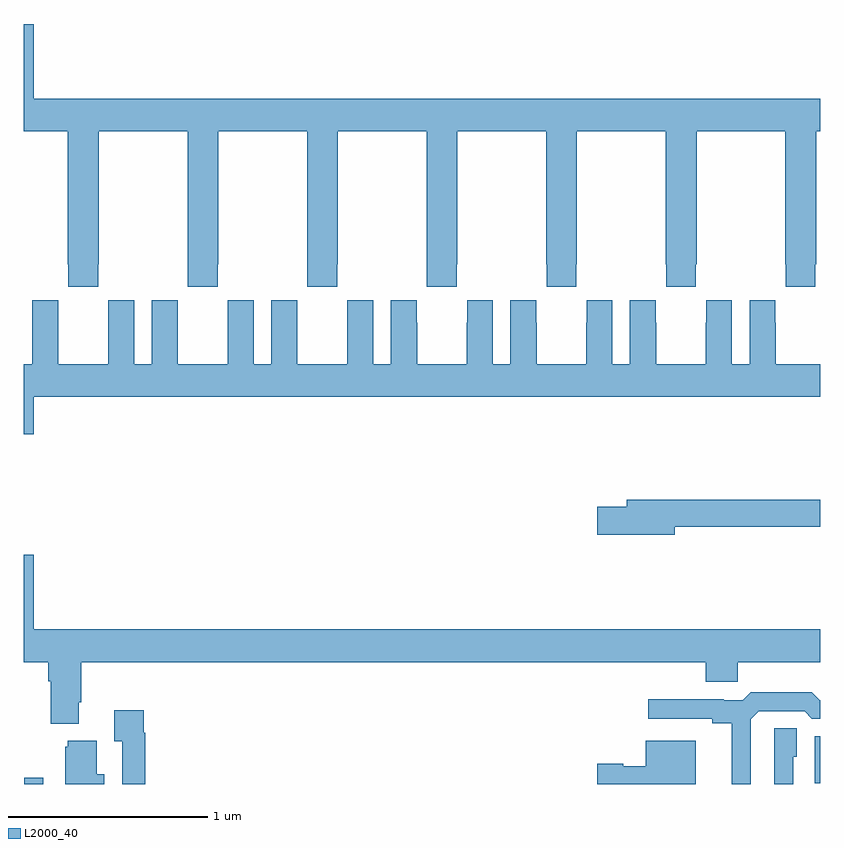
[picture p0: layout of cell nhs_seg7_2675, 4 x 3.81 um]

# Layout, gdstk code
import gdstk
lib = gdstk.Library(unit=1e-6, precision=1e-09)
def R(c, l, rs):  # rectangles x0, y0, x1, y1
    for r in rs: c.add(gdstk.rectangle(r[:2], r[2:], *l))
def P(c, l, *ps):  # polygons
    for p in ps: c.add(gdstk.Polygon(p, *l))
L2000_40 = (2000, 40)

nhs_seg7_2675 = lib.new_cell('nhs_seg7_2675')
R(nhs_seg7_2675, L2000_40, [(285.003,1004,285.099,1004.032), (288.971,1004.003,289,1004.239)])
P(nhs_seg7_2675, L2000_40, [(285.375,1006.609),(285.378,1006.609),(285.378,1007.276),(285.823,1007.276),(285.823,1006.609),(285.825,1006.609),(285.825,1006.497),(285.975,1006.497),(285.975,1006.609),(285.978,1006.609),(285.978,1007.276),(286.423,1007.276),(286.423,1006.609),(286.425,1006.609),(286.425,1006.497),(286.575,1006.497),(286.575,1006.609),(286.578,1006.609),(286.578,1007.276),(287.023,1007.276),(287.023,1006.609),(287.025,1006.609),(287.025,1006.497),(287.175,1006.497),(287.175,1006.609),(287.178,1006.609),(287.178,1007.276),(287.623,1007.276),(287.623,1006.609),(287.625,1006.609),(287.625,1006.497),(287.775,1006.497),(287.775,1006.609),(287.778,1006.609),(287.778,1007.276),(288.223,1007.276),(288.223,1006.609),(288.225,1006.609),(288.225,1006.497),(288.375,1006.497),(288.375,1006.609),(288.378,1006.609),(288.378,1007.276),(288.823,1007.276),(288.823,1006.609),(288.825,1006.609),(288.825,1006.497),(288.975,1006.497),(288.975,1006.609),(288.978,1006.609),(288.978,1007.276),(289,1007.276),(289,1007.44),(285.052,1007.44),(285.052,1007.815),(285,1007.815),(285,1007.276),(285.223,1007.276),(285.223,1006.609),(285.225,1006.609),(285.225,1006.497),(285.375,1006.497)],
  [(289,1006.108),(288.775,1006.108),(288.775,1006.316),(288.774,1006.316),(288.774,1006.429),(288.644,1006.429),(288.644,1006.108),(288.556,1006.108),(288.556,1006.429),(288.426,1006.429),(288.426,1006.316),(288.425,1006.316),(288.425,1006.108),(288.175,1006.108),(288.175,1006.316),(288.174,1006.316),(288.174,1006.429),(288.044,1006.429),(288.044,1006.108),(287.956,1006.108),(287.956,1006.429),(287.826,1006.429),(287.826,1006.316),(287.825,1006.316),(287.825,1006.108),(287.575,1006.108),(287.575,1006.316),(287.574,1006.316),(287.574,1006.429),(287.444,1006.429),(287.444,1006.108),(287.356,1006.108),(287.356,1006.429),(287.226,1006.429),(287.226,1006.316),(287.225,1006.316),(287.225,1006.108),(286.975,1006.108),(286.975,1006.316),(286.974,1006.316),(286.974,1006.429),(286.844,1006.429),(286.844,1006.108),(286.756,1006.108),(286.756,1006.429),(286.626,1006.429),(286.626,1006.316),(286.625,1006.316),(286.625,1006.108),(286.375,1006.108),(286.375,1006.316),(286.374,1006.316),(286.374,1006.429),(286.244,1006.429),(286.244,1006.108),(286.156,1006.108),(286.156,1006.429),(286.026,1006.429),(286.026,1006.316),(286.025,1006.316),(286.025,1006.108),(285.775,1006.108),(285.775,1006.316),(285.774,1006.316),(285.774,1006.429),(285.644,1006.429),(285.644,1006.108),(285.556,1006.108),(285.556,1006.429),(285.426,1006.429),(285.426,1006.316),(285.425,1006.316),(285.425,1006.108),(285.175,1006.108),(285.175,1006.316),(285.174,1006.316),(285.174,1006.429),(285.044,1006.429),(285.044,1006.108),(285,1006.108),(285,1005.756),(285.052,1005.756),(285.052,1005.944),(289,1005.944)],
  [(288.268,1005.292),(289,1005.292),(289,1005.428),(288.029,1005.428),(288.029,1005.392),(287.88,1005.392),(287.88,1005.25),(288.268,1005.25)],
  [(285.277,1004.41),(285.29,1004.41),(285.29,1004.612),(288.425,1004.612),(288.425,1004.514),(288.585,1004.514),(288.585,1004.612),(289,1004.612),(289,1004.776),(285.052,1004.776),(285.052,1005.151),(285,1005.151),(285,1004.612),(285.125,1004.612),(285.125,1004.516),(285.137,1004.516),(285.137,1004.303),(285.277,1004.303)],
  [(288.651,1004.325),(288.69,1004.364),(288.921,1004.364),(288.957,1004.328),(289,1004.328),(289,1004.421),(288.996,1004.421),(288.957,1004.461),(288.649,1004.461),(288.609,1004.421),(288.515,1004.421),(288.515,1004.426),(288.135,1004.426),(288.135,1004.328),(288.458,1004.328),(288.458,1004.306),(288.554,1004.306),(288.554,1004),(288.651,1004)],
  [(285.611,1004.258),(285.604,1004.258),(285.604,1004.371),(285.455,1004.371),(285.455,1004.215),(285.495,1004.215),(285.495,1004),(285.611,1004)],
  [(288.864,1004.136),(288.88,1004.136),(288.88,1004.279),(288.768,1004.279),(288.768,1004),(288.864,1004)],
  [(288.373,1004.218),(288.122,1004.218),(288.122,1004.089),(288.009,1004.089),(288.009,1004.102),(287.88,1004.102),(287.88,1004),(288.373,1004)],
  [(285.406,1004.05),(285.367,1004.05),(285.367,1004.218),(285.221,1004.218),(285.221,1004.187),(285.209,1004.187),(285.209,1004),(285.406,1004)])

lib.write_gds('nhs_seg7_2675.gds')
